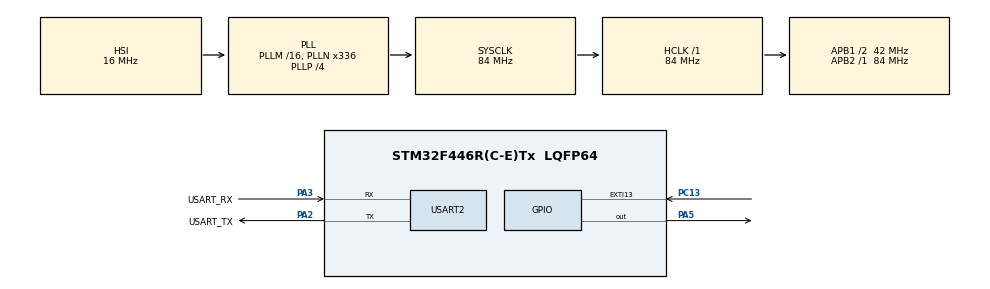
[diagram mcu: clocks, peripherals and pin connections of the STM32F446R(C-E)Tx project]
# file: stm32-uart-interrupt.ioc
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Mcu.Family=STM32F4
Mcu.Name=STM32F446R(C-E)Tx
Mcu.Package=LQFP64
NUCLEO-F446RE.BUTTON=1
NUCLEO-F446RE.LD1=true
NVIC.EXTI15_10_IRQn=true\:0\:0\:false\:false\:true\:false\:true\:true
NVIC.PriorityGroup=NVIC_PRIORITYGROUP_0
NVIC.TIM3_IRQn=true\:0\:0\:false\:false\:true\:true\:true\:true
NVIC.USART2_IRQn=true\:0\:0\:false\:false\:true\:true\:true\:true
PA13.GPIO_Label=TMS
PA13.Signal=SYS_JTMS-SWDIO
PA14.GPIO_Label=TCK
PA14.Signal=SYS_JTCK-SWCLK
PA2.GPIO_Label=USART_TX
PA2.Mode=Asynchronous
PA2.Signal=USART2_TX
PA3.GPIO_Label=USART_RX
PA3.Mode=Asynchronous
PA3.Signal=USART2_RX
PA5.Signal=GPIO_Output
PB3.GPIO_Label=SWO
PB3.Signal=SYS_JTDO-SWO
PC13.Signal=GPXTI13
PC14-OSC32_IN.Signal=RCC_OSC32_IN
PC15-OSC32_OUT.Signal=RCC_OSC32_OUT
PH0-OSC_IN.Signal=RCC_OSC_IN
PH1-OSC_OUT.Signal=RCC_OSC_OUT
ProjectManager.HeapSize=0x200
ProjectManager.StackSize=0x400
ProjectManager.TargetToolchain=STM32CubeIDE
RCC.AHBFreq_Value=84000000
RCC.APB1CLKDivider=RCC_HCLK_DIV2
RCC.APB1Freq_Value=42000000
RCC.APB1TimFreq_Value=84000000
RCC.APB2Freq_Value=84000000
RCC.APB2TimFreq_Value=84000000
RCC.CortexFreq_Value=84000000
RCC.FLatency-AdvancedSettings=FLASH_LATENCY_2
RCC.HCLKFreq_Value=84000000
RCC.HSE_VALUE=8000000
RCC.HSI_VALUE=16000000
RCC.LSE_VALUE=32768
RCC.PLLN=336
RCC.PLLP=RCC_PLLP_DIV4
RCC.SYSCLKFreq_VALUE=84000000
RCC.SYSCLKSource=RCC_SYSCLKSOURCE_PLLCLK
RCC.USBFreq_Value=168000000
RCC.VCOOutputFreq_Value=336000000
TIM3.Period=4999
TIM3.Prescaler=8399
USART2.VirtualMode=VM_ASYNC
VP_NUCLEO-F446RE_VS_BSP_COMMON.Mode=COMMON
VP_TIM3_VS_ClockSourceINT.Mode=Internal
board=NUCLEO-F446RE

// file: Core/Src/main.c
/* USER CODE BEGIN Header */
/**
 ******************************************************************************
 * @file           : main.c
 * @brief          : Main program body
 ******************************************************************************
 * @attention
 *
 * Copyright (c) 2026 STMicroelectronics.
 * All rights reserved.
 *
 * This software is licensed under terms that can be found in the LICENSE file
 * in the root directory of this software component.
 * If no LICENSE file comes with this software, it is provided AS-IS.
 *
 ******************************************************************************
 */
/* USER CODE END Header */
#include "main.h"

/* USER CODE BEGIN Includes */

#include <string.h>

/* USER CODE END Includes */

TIM_HandleTypeDef htim3;

UART_HandleTypeDef huart2;

/* USER CODE BEGIN PV */

uint8_t rx_char;

char command[20];

volatile uint8_t command_index = 0;
volatile uint8_t command_ready = 0;

// LED control
volatile uint8_t led_blink_enabled = 0;

// Timer event flag
volatile uint8_t timer_tick = 0;

/* USER CODE END PV */

void SystemClock_Config(void);
static void MX_GPIO_Init(void);
static void MX_USART2_UART_Init(void);
static void MX_TIM3_Init(void);

int main(void) {

	/* MCU Configuration--------------------------------------------------------*/

	/* Reset of all peripherals, Initializes the Flash interface and the Systick. */
	HAL_Init();

	/* Configure the system clock */
	SystemClock_Config();

	/* Initialize all configured peripherals */
	MX_GPIO_Init();
	MX_USART2_UART_Init();
	MX_TIM3_Init();
	/* USER CODE BEGIN 2 */

	/* Initialize leds */
	BSP_LED_Init(LED2);

	// Start UART reception using interrupt
	HAL_UART_Receive_IT(&huart2, &rx_char, 1);

	// Start TIM3 with interrupt
	HAL_TIM_Base_Start_IT(&htim3);

	/* USER CODE END 2 */

	/* Initialize USER push-button, will be used to trigger an interrupt each time it's pressed.*/
	BSP_PB_Init(BUTTON_USER, BUTTON_MODE_EXTI);

	/* Infinite loop */
	while (1) {

		/* USER CODE BEGIN 3 */
		if (command_ready == 1) {
			if (strcmp(command, "LED ON") == 0) {
				led_blink_enabled = 0;
				BSP_LED_On(LED2);

				HAL_UART_Transmit(&huart2, (uint8_t*) "LED is ON\r\n",
						sizeof("LED is ON\r\n") - 1,
						HAL_MAX_DELAY);
			} else if (strcmp(command, "LED OFF") == 0) {
				led_blink_enabled = 0;
				BSP_LED_Off(LED2);

				HAL_UART_Transmit(&huart2, (uint8_t*) "LED is OFF\r\n",
						sizeof("LED is OFF\r\n") - 1,
						HAL_MAX_DELAY);
			} else if (strcmp(command, "LED BLINK") == 0) {
				led_blink_enabled = 1;

				HAL_UART_Transmit(&huart2, (uint8_t*) "LED blinking\r\n",
						sizeof("LED blinking\r\n") - 1,
						HAL_MAX_DELAY);
			} else {
				HAL_UART_Transmit(&huart2, (uint8_t*) "Unknown command\r\n",
						sizeof("Unknown command\r\n") - 1,
						HAL_MAX_DELAY);
			}

			command_index = 0;
			command_ready = 0;
		}

		// Process timer event
		if (timer_tick == 1) {
			timer_tick = 0;

			if (led_blink_enabled == 1) {
				BSP_LED_Toggle(LED2);
			}
		}
	}

//	Welcome to minicom 2.9
//
//	OPTIONS: I18n
//	Port /dev/ttyACM0, 14:54:42
//
//	Press CTRL-A Z for help on special keys
//
//	Unknown command
//	LED is ON
//	LED is OFF
//	LED blinking
//	LED is OFF
//	LED is ON
//	LED blinking
//	Unknown command
//	LED is OFF
//	Unknown command

	/* USER CODE END 3 */
}

void SystemClock_Config(void) {
	RCC_OscInitTypeDef RCC_OscInitStruct = { 0 };
	RCC_ClkInitTypeDef RCC_ClkInitStruct = { 0 };

	/** Configure the main internal regulator output voltage
	 */
	__HAL_RCC_PWR_CLK_ENABLE();
	__HAL_PWR_VOLTAGESCALING_CONFIG(PWR_REGULATOR_VOLTAGE_SCALE3);

	/** Initializes the RCC Oscillators according to the specified parameters
	 * in the RCC_OscInitTypeDef structure.
	 */
	RCC_OscInitStruct.OscillatorType = RCC_OSCILLATORTYPE_HSI;
	RCC_OscInitStruct.HSIState = RCC_HSI_ON;
	RCC_OscInitStruct.HSICalibrationValue = RCC_HSICALIBRATION_DEFAULT;
	RCC_OscInitStruct.PLL.PLLState = RCC_PLL_ON;
	RCC_OscInitStruct.PLL.PLLSource = RCC_PLLSOURCE_HSI;
	RCC_OscInitStruct.PLL.PLLM = 16;
	RCC_OscInitStruct.PLL.PLLN = 336;
	RCC_OscInitStruct.PLL.PLLP = RCC_PLLP_DIV4;
	RCC_OscInitStruct.PLL.PLLQ = 2;
	RCC_OscInitStruct.PLL.PLLR = 2;
	if (HAL_RCC_OscConfig(&RCC_OscInitStruct) != HAL_OK) {
		Error_Handler();
	}

	/** Initializes the CPU, AHB and APB buses clocks
	 */
	RCC_ClkInitStruct.ClockType = RCC_CLOCKTYPE_HCLK | RCC_CLOCKTYPE_SYSCLK
			| RCC_CLOCKTYPE_PCLK1 | RCC_CLOCKTYPE_PCLK2;
	RCC_ClkInitStruct.SYSCLKSource = RCC_SYSCLKSOURCE_PLLCLK;
	RCC_ClkInitStruct.AHBCLKDivider = RCC_SYSCLK_DIV1;
	RCC_ClkInitStruct.APB1CLKDivider = RCC_HCLK_DIV2;
	RCC_ClkInitStruct.APB2CLKDivider = RCC_HCLK_DIV1;

	if (HAL_RCC_ClockConfig(&RCC_ClkInitStruct, FLASH_LATENCY_2) != HAL_OK) {
		Error_Handler();
	}
}

static void MX_TIM3_Init(void) {

	TIM_ClockConfigTypeDef sClockSourceConfig = { 0 };
	TIM_MasterConfigTypeDef sMasterConfig = { 0 };

	htim3.Instance = TIM3;
	htim3.Init.Prescaler = 8399;
	htim3.Init.CounterMode = TIM_COUNTERMODE_UP;
	htim3.Init.Period = 4999;
	htim3.Init.ClockDivision = TIM_CLOCKDIVISION_DIV1;
	htim3.Init.AutoReloadPreload = TIM_AUTORELOAD_PRELOAD_DISABLE;
	if (HAL_TIM_Base_Init(&htim3) != HAL_OK) {
		Error_Handler();
	}
	sClockSourceConfig.ClockSource = TIM_CLOCKSOURCE_INTERNAL;
	if (HAL_TIM_ConfigClockSource(&htim3, &sClockSourceConfig) != HAL_OK) {
		Error_Handler();
	}
	sMasterConfig.MasterOutputTrigger = TIM_TRGO_RESET;
	sMasterConfig.MasterSlaveMode = TIM_MASTERSLAVEMODE_DISABLE;
	if (HAL_TIMEx_MasterConfigSynchronization(&htim3, &sMasterConfig)
			!= HAL_OK) {
		Error_Handler();
	}

}

static void MX_USART2_UART_Init(void) {

	huart2.Instance = USART2;
	huart2.Init.BaudRate = 115200;
	huart2.Init.WordLength = UART_WORDLENGTH_8B;
	huart2.Init.StopBits = UART_STOPBITS_1;
	huart2.Init.Parity = UART_PARITY_NONE;
	huart2.Init.Mode = UART_MODE_TX_RX;
	huart2.Init.HwFlowCtl = UART_HWCONTROL_NONE;
	huart2.Init.OverSampling = UART_OVERSAMPLING_16;
	if (HAL_UART_Init(&huart2) != HAL_OK) {
		Error_Handler();
	}

}

static void MX_GPIO_Init(void) {

	/* GPIO Ports Clock Enable */
	__HAL_RCC_GPIOC_CLK_ENABLE();
	__HAL_RCC_GPIOH_CLK_ENABLE();
	__HAL_RCC_GPIOA_CLK_ENABLE();
	__HAL_RCC_GPIOB_CLK_ENABLE();

}

/* USER CODE BEGIN 4 */

void HAL_UART_RxCpltCallback(UART_HandleTypeDef *huart) {
	if (huart->Instance == USART2) {
		// Process received character
		if (command_ready == 0) {
			if (rx_char == '\r' || rx_char == '\n') {
				if (command_index > 0) {
					command[command_index] = '\0';
					command_ready = 1;
				}
			} else {
				if (command_index < sizeof(command) - 1) {
					command[command_index++] = rx_char;
				} else {
					// Reset buffer on overflow
					command_index = 0;
				}
			}
		}

		// Start receiving the next byte
		HAL_UART_Receive_IT(&huart2, &rx_char, 1);
	}
}

void HAL_TIM_PeriodElapsedCallback(TIM_HandleTypeDef *htim) {
	if (htim->Instance == TIM3) {
		timer_tick = 1;
	}
}

/* USER CODE END 4 */

void Error_Handler(void) {
	__disable_irq();
	while (1) {
	}
}
